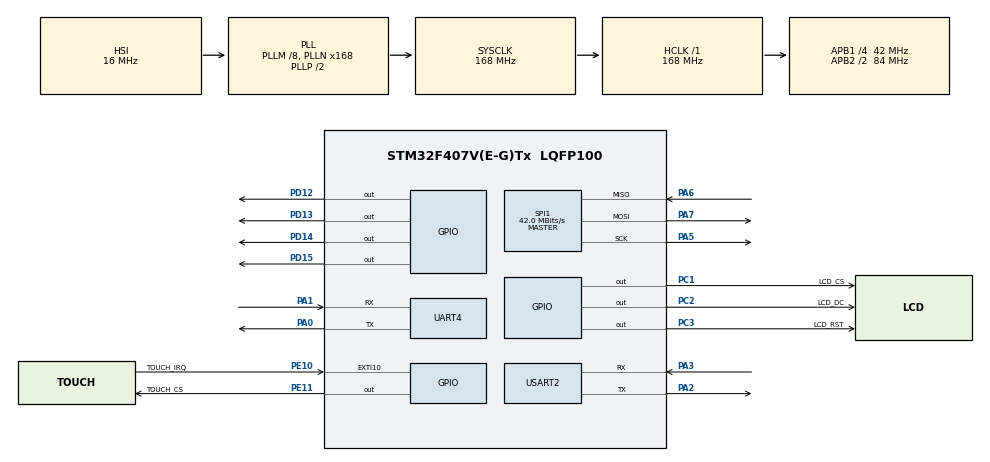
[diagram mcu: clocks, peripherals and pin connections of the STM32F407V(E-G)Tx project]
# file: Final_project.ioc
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Dma.Request0=SPI1_TX
Dma.SPI1_TX.0.Direction=DMA_MEMORY_TO_PERIPH
Dma.SPI1_TX.0.FIFOMode=DMA_FIFOMODE_DISABLE
Dma.SPI1_TX.0.Instance=DMA2_Stream3
Dma.SPI1_TX.0.MemDataAlignment=DMA_MDATAALIGN_BYTE
Dma.SPI1_TX.0.MemInc=DMA_MINC_ENABLE
Dma.SPI1_TX.0.Mode=DMA_NORMAL
Dma.SPI1_TX.0.PeriphDataAlignment=DMA_PDATAALIGN_BYTE
Dma.SPI1_TX.0.PeriphInc=DMA_PINC_DISABLE
Dma.SPI1_TX.0.Priority=DMA_PRIORITY_LOW
Mcu.Family=STM32F4
Mcu.Name=STM32F407V(E-G)Tx
Mcu.Package=LQFP100
NVIC.DMA2_Stream3_IRQn=true\:0\:0\:false\:false\:true\:false\:true
NVIC.EXTI15_10_IRQn=true\:0\:0\:true\:false\:true\:true\:true
NVIC.PriorityGroup=NVIC_PRIORITYGROUP_4
NVIC.SPI1_IRQn=true\:0\:0\:true\:false\:true\:true\:true
PA0-WKUP.Mode=Asynchronous
PA0-WKUP.Signal=UART4_TX
PA1.Mode=Asynchronous
PA1.Signal=UART4_RX
PA13.Mode=Serial_Wire
PA13.Signal=SYS_JTMS-SWDIO
PA14.Mode=Serial_Wire
PA14.Signal=SYS_JTCK-SWCLK
PA2.Mode=Asynchronous
PA2.Signal=USART2_TX
PA3.Mode=Asynchronous
PA3.Signal=USART2_RX
PA5.Mode=Full_Duplex_Master
PA5.Signal=SPI1_SCK
PA6.Mode=Full_Duplex_Master
PA6.Signal=SPI1_MISO
PA7.Mode=Full_Duplex_Master
PA7.Signal=SPI1_MOSI
PC1.GPIO_Label=LCD_CS
PC1.Signal=GPIO_Output
PC14-OSC32_IN.Mode=LSE-External-Oscillator
PC14-OSC32_IN.Signal=RCC_OSC32_IN
PC15-OSC32_OUT.Mode=LSE-External-Oscillator
PC15-OSC32_OUT.Signal=RCC_OSC32_OUT
PC2.GPIO_Label=LCD_DC
PC2.Signal=GPIO_Output
PC3.GPIO_Label=LCD_RST
PC3.Signal=GPIO_Output
PD12.Signal=GPIO_Output
PD13.Signal=GPIO_Output
PD14.Signal=GPIO_Output
PD15.Signal=GPIO_Output
PE10.GPIO_Label=TOUCH_IRQ
PE10.GPIO_ModeDefaultEXTI=GPIO_MODE_IT_RISING_FALLING
PE10.Signal=GPXTI10
PE11.GPIO_Label=TOUCH_CS
PE11.Signal=GPIO_Output
PH0-OSC_IN.Mode=HSE-External-Oscillator
PH0-OSC_IN.Signal=RCC_OSC_IN
PH1-OSC_OUT.Mode=HSE-External-Oscillator
PH1-OSC_OUT.Signal=RCC_OSC_OUT
ProjectManager.HeapSize=0x200
ProjectManager.StackSize=0x400
ProjectManager.TargetToolchain=STM32CubeIDE
RCC.48MHZClocksFreq_Value=48000000
RCC.AHBFreq_Value=168000000
RCC.APB1CLKDivider=RCC_HCLK_DIV4
RCC.APB1Freq_Value=42000000
RCC.APB1TimFreq_Value=84000000
RCC.APB2CLKDivider=RCC_HCLK_DIV2
RCC.APB2Freq_Value=84000000
RCC.APB2TimFreq_Value=168000000
RCC.CortexFreq_Value=168000000
RCC.HCLKFreq_Value=168000000
RCC.HSE_VALUE=8000000
RCC.HSI_VALUE=16000000
RCC.PLLM=8
RCC.PLLN=168
RCC.PLLQ=7
RCC.SYSCLKFreq_VALUE=168000000
RCC.SYSCLKSource=RCC_SYSCLKSOURCE_PLLCLK
RCC.VCOOutputFreq_Value=336000000
SPI1.BaudRatePrescaler=SPI_BAUDRATEPRESCALER_2
SPI1.CalculateBaudRate=42.0 MBits/s
SPI1.Direction=SPI_DIRECTION_2LINES
SPI1.Mode=SPI_MODE_MASTER
SPI1.VirtualType=VM_MASTER
UART4.VirtualMode=Asynchronous
USART2.VirtualMode=VM_ASYNC
board=STM32F407G-DISC1

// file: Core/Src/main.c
/* USER CODE BEGIN Header */
/**
  ******************************************************************************
  * @file           : main.c
  * @brief          : Main program body
  ******************************************************************************
  * @attention
  *
  * Copyright (c) 2022 STMicroelectronics.
  * All rights reserved.
  *
  * This software is licensed under terms that can be found in the LICENSE file
  * in the root directory of this software component.
  * If no LICENSE file comes with this software, it is provided AS-IS.
  *
  ******************************************************************************
  */
/* USER CODE END Header */
#include "main.h"

/* USER CODE BEGIN Includes */
#include "FreeRTOS.h"
#include "task.h"
#include "semphr.h"
#include "stdio.h"
#include <string.h>
#include "ILI9341_STM32_Driver.h"
#include "ILI9341_GFX.h"
#include "ILI9341_Touch.h"
/* USER CODE END Includes */

RNG_HandleTypeDef hrng;

SPI_HandleTypeDef hspi1;
DMA_HandleTypeDef hdma_spi1_tx;

UART_HandleTypeDef huart4;
UART_HandleTypeDef huart2;

/* USER CODE BEGIN PV */
/* Private variables ---------------------------------------------------------*/

/* USER CODE END PV */

void SystemClock_Config(void);
static void MX_GPIO_Init(void);
static void MX_DMA_Init(void);
static void MX_SPI1_Init(void);
static void MX_RNG_Init(void);
static void MX_USART2_UART_Init(void);
static void MX_UART4_Init(void);
/* USER CODE BEGIN PFP */
/* Private function prototypes -----------------------------------------------*/

/* USER CODE END PFP */

/* USER CODE BEGIN 0 */
TaskHandle_t xHandle=NULL;
TaskHandle_t xHandle1=NULL;
TaskHandle_t xHandle2=NULL;

void test(void *pvParameters)
{
	while(1)
	{
		HAL_GPIO_TogglePin(GPIOD,GPIO_PIN_13);
		vTaskDelay(200);
	}
}
void Touch_detect(void *pvParameters)
{
	uint16_t x = 0;
	uint16_t y = 0;
	char test[20];
	char t[5] = "true";

	while(1)
	{

		ili9341_touch_pressed_t pressed = ili9341_touch_coordinate(&x, &y, SCREEN_VERTICAL_1);
		int x1 = (int) x;
		int y1 = (int) y;
//		sprintf(test,"The point is %d %d %d \n\r",x1,y1,pressed);
//		HAL_UART_Transmit(&huart4,(uint8_t*)test,strlen(test),0xffff);
		if(x1 > 30 && x1 <80)
		{
			char status[8] = "stop";
			ILI9341_FillScreen(WHITE);
			HAL_UART_Transmit(&huart4,(uint8_t *) status,strlen(status),0xffff);
			ILI9341_DrawRectangle(240, 150, 50, 50, ORANGE);
			ILI9341_DrawText(status,5, FONT2, 250, 170, BLACK, ORANGE);
			vTaskDelay(500);
		}
		vTaskDelay(100);
	}
}
void screen(void *pvParameters)
{
	ILI9341_Init();
	ILI9341_SetRotation(SCREEN_VERTICAL_2);
	ILI9341_FillScreen(YELLOW);

	char data[65];
	char current_price[25];
	char target_price[29];

	int first = 1;
	while(1)
	{
		HAL_UART_Receive(&huart2,(uint8_t*)data,strlen(data),0xffff);
		for(int i = 0;i<24;i++)
			current_price[i] = data[i+1];
		for(int i = 0;i<29;i++)
			target_price[i] = data[i+25];
		ILI9341_DrawText(current_price,24, FONT3, 30, 10, BLACK, YELLOW);
		ILI9341_DrawText(target_price,28, FONT3, 25, 50, BLACK, YELLOW);
		if(first)
		{
			ILI9341_FillScreen(YELLOW);
			first = 0;
			ILI9341_DrawRectangle(240, 150, 50, 50, ORANGE);
			char status[8] = "stop";
			ILI9341_DrawText(status,5, FONT2, 250, 170, BLACK, ORANGE);
			char pair[15] = "pair : btcusdt";
			ILI9341_DrawText(pair,15, FONT3, 30, 90, BLACK, YELLOW);
		}

		vTaskDelay(100);
	}
}

/* USER CODE END 0 */

int main(void)
{

  /* MCU Configuration--------------------------------------------------------*/

  /* Reset of all peripherals, Initializes the Flash interface and the Systick. */
  HAL_Init();

  /* Configure the system clock */
  SystemClock_Config();

  /* Initialize all configured peripherals */
  MX_GPIO_Init();
  MX_DMA_Init();
  MX_SPI1_Init();
  MX_RNG_Init();
  MX_USART2_UART_Init();
  MX_UART4_Init();
  /* USER CODE BEGIN 2 */
//
  xTaskCreate(
		  	  test,
    		  "test",
    		  128,
    		  NULL,
    		  1,
    		  &xHandle);
  xTaskCreate(
  		  	  Touch_detect,
      		  "Touch_detect",
      		  1024,
      		  NULL,
      		  1,
      		  &xHandle1);
  xTaskCreate(
		  	  screen,
    		  "screen",
    		  1024,
    		  NULL,
    		  1,
    		  &xHandle2);
  vTaskStartScheduler();
  /* USER CODE END 2 */

  /* Infinite loop */
	while (1)
	{

    /* USER CODE BEGIN 3 */
	}

	/* COUNTING MULTIPLE SEGMENTS */

  /* USER CODE END 3 */
}

void SystemClock_Config(void)
{
  RCC_OscInitTypeDef RCC_OscInitStruct = {0};
  RCC_ClkInitTypeDef RCC_ClkInitStruct = {0};

  /** Configure the main internal regulator output voltage
  */
  __HAL_RCC_PWR_CLK_ENABLE();
  __HAL_PWR_VOLTAGESCALING_CONFIG(PWR_REGULATOR_VOLTAGE_SCALE1);
  /** Initializes the RCC Oscillators according to the specified parameters
  * in the RCC_OscInitTypeDef structure.
  */
  RCC_OscInitStruct.OscillatorType = RCC_OSCILLATORTYPE_HSI;
  RCC_OscInitStruct.HSIState = RCC_HSI_ON;
  RCC_OscInitStruct.HSICalibrationValue = RCC_HSICALIBRATION_DEFAULT;
  RCC_OscInitStruct.PLL.PLLState = RCC_PLL_ON;
  RCC_OscInitStruct.PLL.PLLSource = RCC_PLLSOURCE_HSI;
  RCC_OscInitStruct.PLL.PLLM = 8;
  RCC_OscInitStruct.PLL.PLLN = 168;
  RCC_OscInitStruct.PLL.PLLP = RCC_PLLP_DIV2;
  RCC_OscInitStruct.PLL.PLLQ = 7;
  if (HAL_RCC_OscConfig(&RCC_OscInitStruct) != HAL_OK)
  {
    Error_Handler();
  }
  /** Initializes the CPU, AHB and APB buses clocks
  */
  RCC_ClkInitStruct.ClockType = RCC_CLOCKTYPE_HCLK|RCC_CLOCKTYPE_SYSCLK
                              |RCC_CLOCKTYPE_PCLK1|RCC_CLOCKTYPE_PCLK2;
  RCC_ClkInitStruct.SYSCLKSource = RCC_SYSCLKSOURCE_PLLCLK;
  RCC_ClkInitStruct.AHBCLKDivider = RCC_SYSCLK_DIV1;
  RCC_ClkInitStruct.APB1CLKDivider = RCC_HCLK_DIV4;
  RCC_ClkInitStruct.APB2CLKDivider = RCC_HCLK_DIV2;

  if (HAL_RCC_ClockConfig(&RCC_ClkInitStruct, FLASH_LATENCY_5) != HAL_OK)
  {
    Error_Handler();
  }
}

static void MX_RNG_Init(void)
{

  hrng.Instance = RNG;
  if (HAL_RNG_Init(&hrng) != HAL_OK)
  {
    Error_Handler();
  }

}

static void MX_SPI1_Init(void)
{

  /* SPI1 parameter configuration*/
  hspi1.Instance = SPI1;
  hspi1.Init.Mode = SPI_MODE_MASTER;
  hspi1.Init.Direction = SPI_DIRECTION_2LINES;
  hspi1.Init.DataSize = SPI_DATASIZE_8BIT;
  hspi1.Init.CLKPolarity = SPI_POLARITY_LOW;
  hspi1.Init.CLKPhase = SPI_PHASE_1EDGE;
  hspi1.Init.NSS = SPI_NSS_SOFT;
  hspi1.Init.BaudRatePrescaler = SPI_BAUDRATEPRESCALER_2;
  hspi1.Init.FirstBit = SPI_FIRSTBIT_MSB;
  hspi1.Init.TIMode = SPI_TIMODE_DISABLE;
  hspi1.Init.CRCCalculation = SPI_CRCCALCULATION_DISABLE;
  hspi1.Init.CRCPolynomial = 10;
  if (HAL_SPI_Init(&hspi1) != HAL_OK)
  {
    Error_Handler();
  }

}

static void MX_UART4_Init(void)
{

  huart4.Instance = UART4;
  huart4.Init.BaudRate = 115200;
  huart4.Init.WordLength = UART_WORDLENGTH_8B;
  huart4.Init.StopBits = UART_STOPBITS_1;
  huart4.Init.Parity = UART_PARITY_NONE;
  huart4.Init.Mode = UART_MODE_TX_RX;
  huart4.Init.HwFlowCtl = UART_HWCONTROL_NONE;
  huart4.Init.OverSampling = UART_OVERSAMPLING_16;
  if (HAL_UART_Init(&huart4) != HAL_OK)
  {
    Error_Handler();
  }

}

static void MX_USART2_UART_Init(void)
{

  huart2.Instance = USART2;
  huart2.Init.BaudRate = 115200;
  huart2.Init.WordLength = UART_WORDLENGTH_8B;
  huart2.Init.StopBits = UART_STOPBITS_1;
  huart2.Init.Parity = UART_PARITY_NONE;
  huart2.Init.Mode = UART_MODE_TX_RX;
  huart2.Init.HwFlowCtl = UART_HWCONTROL_NONE;
  huart2.Init.OverSampling = UART_OVERSAMPLING_16;
  if (HAL_UART_Init(&huart2) != HAL_OK)
  {
    Error_Handler();
  }

}

static void MX_DMA_Init(void)
{

  /* DMA controller clock enable */
  __HAL_RCC_DMA2_CLK_ENABLE();

  /* DMA interrupt init */
  /* DMA2_Stream3_IRQn interrupt configuration */
  HAL_NVIC_SetPriority(DMA2_Stream3_IRQn, 0, 0);
  HAL_NVIC_EnableIRQ(DMA2_Stream3_IRQn);

}

static void MX_GPIO_Init(void)
{
  GPIO_InitTypeDef GPIO_InitStruct = {0};

  /* GPIO Ports Clock Enable */
  __HAL_RCC_GPIOC_CLK_ENABLE();
  __HAL_RCC_GPIOH_CLK_ENABLE();
  __HAL_RCC_GPIOA_CLK_ENABLE();
  __HAL_RCC_GPIOE_CLK_ENABLE();

  /*Configure GPIO pin Output Level */
  HAL_GPIO_WritePin(GPIOC, LCD_CS_Pin|LCD_DC_Pin|LCD_RST_Pin, GPIO_PIN_RESET);

  /*Configure GPIO pin Output Level */
  HAL_GPIO_WritePin(TOUCH_CS_GPIO_Port, TOUCH_CS_Pin, GPIO_PIN_RESET);

  /*Configure GPIO pins : LCD_CS_Pin LCD_DC_Pin LCD_RST_Pin */
  GPIO_InitStruct.Pin = LCD_CS_Pin|LCD_DC_Pin|LCD_RST_Pin;
  GPIO_InitStruct.Mode = GPIO_MODE_OUTPUT_PP;
  GPIO_InitStruct.Pull = GPIO_NOPULL;
  GPIO_InitStruct.Speed = GPIO_SPEED_FREQ_LOW;
  HAL_GPIO_Init(GPIOC, &GPIO_InitStruct);

  /*Configure GPIO pin : TOUCH_IRQ_Pin */
  GPIO_InitStruct.Pin = TOUCH_IRQ_Pin;
  GPIO_InitStruct.Mode = GPIO_MODE_IT_RISING_FALLING;
  GPIO_InitStruct.Pull = GPIO_NOPULL;
  HAL_GPIO_Init(TOUCH_IRQ_GPIO_Port, &GPIO_InitStruct);

  /*Configure GPIO pin : TOUCH_CS_Pin */
  GPIO_InitStruct.Pin = TOUCH_CS_Pin;
  GPIO_InitStruct.Mode = GPIO_MODE_OUTPUT_PP;
  GPIO_InitStruct.Pull = GPIO_NOPULL;
  GPIO_InitStruct.Speed = GPIO_SPEED_FREQ_LOW;
  HAL_GPIO_Init(TOUCH_CS_GPIO_Port, &GPIO_InitStruct);

  /* EXTI interrupt init*/
  HAL_NVIC_SetPriority(EXTI15_10_IRQn, 0, 0);
  HAL_NVIC_EnableIRQ(EXTI15_10_IRQn);

}

void Error_Handler(void)
{
	while(1)
	{
	}
}
